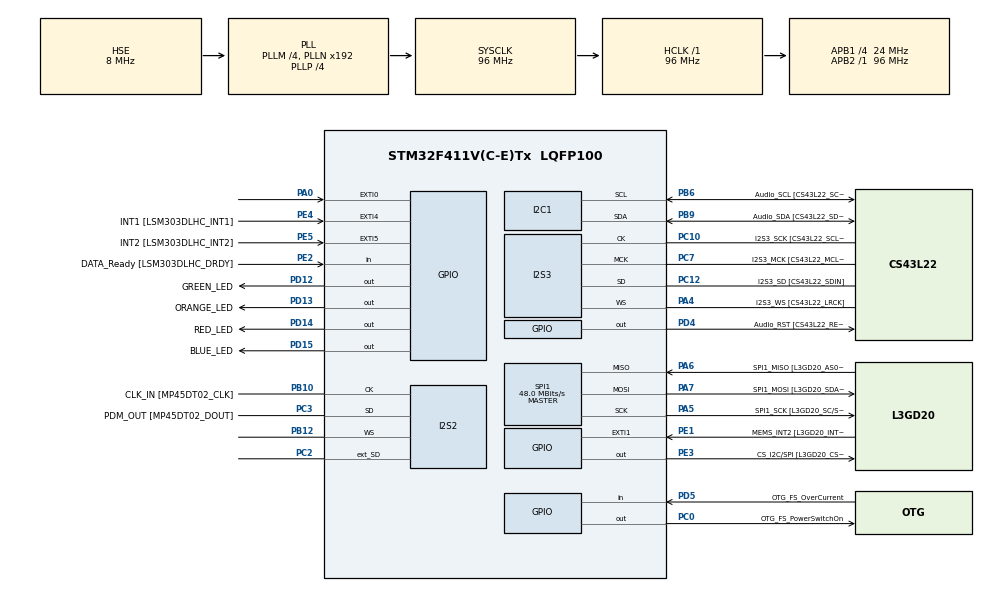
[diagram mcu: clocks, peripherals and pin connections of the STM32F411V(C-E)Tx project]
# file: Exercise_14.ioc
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FREERTOS.Tasks01=GREEN_LED,0,128,Start_GREEN_LED,Default,NULL,Dynamic,NULL,NULL;RED_LED,0,128,Start_RED_LED,Default,NULL,Dynamic,NULL,NULL;BLUE_LED,0,128,Start_BLUE_LED,Default,NULL,Dynamic,NULL,NULL
I2S2.AudioFreq=I2S_AUDIOFREQ_96K
I2S2.ErrorAudioFreq=0.15 %
I2S2.FullDuplexMode=I2S_FULLDUPLEXMODE_ENABLE
I2S2.Instance=SPI$Index
I2S2.RealAudioFreq=96.153 KHz
I2S2.VirtualMode=I2S_MODE_MASTER
I2S3.AudioFreq=I2S_AUDIOFREQ_96K
I2S3.ErrorAudioFreq=-6.99 %
I2S3.FullDuplexMode=I2S_FULLDUPLEXMODE_DISABLE
I2S3.Instance=SPI$Index
I2S3.RealAudioFreq=89.285 KHz
I2S3.VirtualMode=I2S_MODE_MASTER
Mcu.Family=STM32F4
Mcu.Name=STM32F411V(C-E)Tx
Mcu.Package=LQFP100
NVIC.PriorityGroup=NVIC_PRIORITYGROUP_4
NVIC.TIM1_UP_TIM10_IRQn=true\:0\:0\:false\:false\:true\:false\:false\:true
NVIC.TimeBase=TIM1_UP_TIM10_IRQn
NVIC.TimeBaseIP=TIM1
PA0-WKUP.GPIO_ModeDefaultEXTI=GPIO_MODE_EVT_RISING
PA0-WKUP.Signal=GPXTI0
PA10.GPIO_Label=OTG_FS_ID
PA10.Signal=USB_OTG_FS_ID
PA11.GPIO_Label=OTG_FS_DM
PA11.Signal=USB_OTG_FS_DM
PA12.GPIO_Label=OTG_FS_DP
PA12.Signal=USB_OTG_FS_DP
PA13.GPIO_Label=SWDIO
PA13.Mode=Serial_Wire
PA13.Signal=SYS_JTMS-SWDIO
PA14.GPIO_Label=SWCLK
PA14.Mode=Serial_Wire
PA14.Signal=SYS_JTCK-SWCLK
PA4.GPIO_Label=I2S3_WS [CS43L22_LRCK]
PA4.GPIO_Mode=GPIO_MODE_AF_PP
PA4.GPIO_PuPd=GPIO_NOPULL
PA4.GPIO_Speed=GPIO_SPEED_FREQ_LOW
PA4.Mode=Half_Duplex_Master
PA4.Signal=I2S3_WS
PA5.GPIO_Label=SPI1_SCK [L3GD20_SC/SPC]
PA5.Mode=Full_Duplex_Master
PA5.Signal=SPI1_SCK
PA6.GPIO_Label=SPI1_MISO [L3GD20_AS0/SDO]
PA6.Mode=Full_Duplex_Master
PA6.Signal=SPI1_MISO
PA7.GPIO_Label=SPI1_MOSI [L3GD20_SDA/SDI/SDO]
PA7.Mode=Full_Duplex_Master
PA7.Signal=SPI1_MOSI
PA9.GPIO_Label=VBUS_FS
PA9.Signal=USB_OTG_FS_VBUS
PB10.GPIO_Label=CLK_IN [MP45DT02_CLK]
PB10.Mode=Full_Duplex_Master
PB10.Signal=I2S2_CK
PB12.Mode=Full_Duplex_Master
PB12.Signal=I2S2_WS
PB3.GPIO_Label=SWO
PB3.Signal=SYS_JTDO-SWO
PB6.GPIO_Label=Audio_SCL [CS43L22_SCL]
PB6.GPIO_Mode=GPIO_MODE_AF_OD
PB6.GPIO_PuPd=GPIO_NOPULL
PB6.GPIO_Speed=GPIO_SPEED_FREQ_LOW
PB6.Mode=I2C
PB6.Signal=I2C1_SCL
PB9.GPIO_Label=Audio_SDA [CS43L22_SDA]
PB9.GPIO_Mode=GPIO_MODE_AF_OD
PB9.GPIO_PuPd=GPIO_NOPULL
PB9.GPIO_Speed=GPIO_SPEED_FREQ_LOW
PB9.Mode=I2C
PB9.Signal=I2C1_SDA
PC0.GPIO_Label=OTG_FS_PowerSwitchOn
PC0.PinState=GPIO_PIN_SET
PC0.Signal=GPIO_Output
PC10.GPIO_Label=I2S3_SCK [CS43L22_SCLK]
PC10.GPIO_Mode=GPIO_MODE_AF_PP
PC10.GPIO_PuPd=GPIO_NOPULL
PC10.GPIO_Speed=GPIO_SPEED_FREQ_LOW
PC10.Mode=Half_Duplex_Master
PC10.Signal=I2S3_CK
PC12.GPIO_Label=I2S3_SD [CS43L22_SDIN]
PC12.GPIO_Mode=GPIO_MODE_AF_PP
PC12.GPIO_PuPd=GPIO_NOPULL
PC12.GPIO_Speed=GPIO_SPEED_FREQ_LOW
PC12.Mode=Half_Duplex_Master
PC12.Signal=I2S3_SD
PC14-OSC32_IN.GPIO_Label=PC14-OSC32_IN
PC14-OSC32_IN.Mode=LSE-External-Oscillator
PC14-OSC32_IN.Signal=RCC_OSC32_IN
PC15-OSC32_OUT.GPIO_Label=PC15-OSC32_OUT
PC15-OSC32_OUT.Mode=LSE-External-Oscillator
PC15-OSC32_OUT.Signal=RCC_OSC32_OUT
PC2.Mode=Full_Duplex_Master
PC2.Signal=I2S2_ext_SD
PC3.GPIO_Label=PDM_OUT [MP45DT02_DOUT]
PC3.Mode=Full_Duplex_Master
PC3.Signal=I2S2_SD
PC7.GPIO_Label=I2S3_MCK [CS43L22_MCLK]
PC7.GPIO_Mode=GPIO_MODE_AF_PP
PC7.GPIO_PuPd=GPIO_NOPULL
PC7.GPIO_Speed=GPIO_SPEED_FREQ_LOW
PC7.Mode=Master_Clock_Activated
PC7.Signal=I2S3_MCK
PD12.GPIO_Label=GREEN_LED
PD12.GPIO_PuPd=GPIO_NOPULL
PD12.GPIO_Speed=GPIO_SPEED_FREQ_LOW
PD12.Signal=GPIO_Output
PD13.GPIO_Label=ORANGE_LED
PD13.GPIO_PuPd=GPIO_NOPULL
PD13.GPIO_Speed=GPIO_SPEED_FREQ_LOW
PD13.Signal=GPIO_Output
PD14.GPIO_Label=RED_LED
PD14.GPIO_PuPd=GPIO_NOPULL
PD14.GPIO_Speed=GPIO_SPEED_FREQ_LOW
PD14.Signal=GPIO_Output
PD15.GPIO_Label=BLUE_LED
PD15.GPIO_PuPd=GPIO_NOPULL
PD15.GPIO_Speed=GPIO_SPEED_FREQ_LOW
PD15.Signal=GPIO_Output
PD4.GPIO_Label=Audio_RST [CS43L22_RESET]
PD4.Signal=GPIO_Output
PD5.GPIO_Label=OTG_FS_OverCurrent
PD5.Signal=GPIO_Input
PE1.GPIO_Label=MEMS_INT2 [L3GD20_INT2]
PE1.GPIO_ModeDefaultEXTI=GPIO_MODE_EVT_RISING
PE1.Signal=GPXTI1
PE2.GPIO_Label=DATA_Ready [LSM303DLHC_DRDY]
PE2.Signal=GPIO_Input
PE3.GPIO_Label=CS_I2C/SPI [L3GD20_CS_I2C/SPI]
PE3.Signal=GPIO_Output
PE4.GPIO_Label=INT1 [LSM303DLHC_INT1]
PE4.GPIO_ModeDefaultEXTI=GPIO_MODE_EVT_RISING
PE4.Signal=GPXTI4
PE5.GPIO_Label=INT2 [LSM303DLHC_INT2]
PE5.GPIO_ModeDefaultEXTI=GPIO_MODE_EVT_RISING
PE5.Signal=GPXTI5
PH0\ -\ OSC_IN.GPIO_Label=PH0-OSC_IN
PH0\ -\ OSC_IN.Mode=HSE-External-Oscillator
PH0\ -\ OSC_IN.Signal=RCC_OSC_IN
PH1\ -\ OSC_OUT.GPIO_Label=PH1-OSC_OUT
PH1\ -\ OSC_OUT.Mode=HSE-External-Oscillator
PH1\ -\ OSC_OUT.Signal=RCC_OSC_OUT
ProjectManager.HeapSize=0x200
ProjectManager.StackSize=0x400
ProjectManager.TargetToolchain=STM32CubeIDE
RCC.48MHZClocksFreq_Value=48000000
RCC.AHBFreq_Value=96000000
RCC.APB1CLKDivider=RCC_HCLK_DIV4
RCC.APB1Freq_Value=24000000
RCC.APB1TimFreq_Value=48000000
RCC.APB2Freq_Value=96000000
RCC.APB2TimFreq_Value=96000000
RCC.CortexFreq_Value=96000000
RCC.HCLKFreq_Value=96000000
RCC.HSE_VALUE=8000000
RCC.HSI_VALUE=16000000
RCC.PLLI2SM=5
RCC.PLLI2SN=200
RCC.PLLM=4
RCC.PLLP=RCC_PLLP_DIV4
RCC.PLLQ=8
RCC.PLLSourceVirtual=RCC_PLLSOURCE_HSE
RCC.SYSCLKFreq_VALUE=96000000
RCC.SYSCLKSource=RCC_SYSCLKSOURCE_PLLCLK
RCC.VCOOutputFreq_Value=384000000
SPI1.BaudRatePrescaler=SPI_BAUDRATEPRESCALER_2
SPI1.CalculateBaudRate=48.0 MBits/s
SPI1.Direction=SPI_DIRECTION_2LINES
SPI1.Mode=SPI_MODE_MASTER
SPI1.VirtualType=VM_MASTER
VP_FREERTOS_VS_CMSIS_V1.Mode=CMSIS_V1
VP_SYS_VS_tim1.Mode=TIM1
board=STM32F411E-DISCO

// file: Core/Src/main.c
/* USER CODE BEGIN Header */
/**
  ******************************************************************************
  * @file           : main.c
  * @brief          : Main program body
  ******************************************************************************
  * @attention
  *
  * <h2><center>&copy; Copyright (c) 2024 STMicroelectronics.
  * All rights reserved.</center></h2>
  *
  * This software component is licensed by ST under Ultimate Liberty license
  * SLA0044, the "License"; You may not use this file except in compliance with
  * the License. You may obtain a copy of the License at:
  *                             www.st.com/SLA0044
  *
  ******************************************************************************
  */
/* USER CODE END Header */

#include "main.h"
#include "cmsis_os.h"

I2C_HandleTypeDef hi2c1;

I2S_HandleTypeDef hi2s2;
I2S_HandleTypeDef hi2s3;

SPI_HandleTypeDef hspi1;

osThreadId GREEN_LEDHandle;
osThreadId RED_LEDHandle;
osThreadId BLUE_LEDHandle;

void SystemClock_Config(void);
static void MX_GPIO_Init(void);
static void MX_I2C1_Init(void);
static void MX_I2S2_Init(void);
static void MX_I2S3_Init(void);
static void MX_SPI1_Init(void);
void Start_GREEN_LED(void const * argument);
void Start_RED_LED(void const * argument);
void Start_BLUE_LED(void const * argument);

int main(void)
{

  /* MCU Configuration--------------------------------------------------------*/

  /* Reset of all peripherals, Initializes the Flash interface and the Systick. */
  HAL_Init();

  /* Configure the system clock */
  SystemClock_Config();

  /* Initialize all configured peripherals */
  MX_GPIO_Init();
  MX_I2C1_Init();
  MX_I2S2_Init();
  MX_I2S3_Init();
  MX_SPI1_Init();

  /* Create the thread(s) */
  /* definition and creation of GREEN_LED */
  osThreadDef(GREEN_LED, Start_GREEN_LED, osPriorityNormal, 0, 128);
  GREEN_LEDHandle = osThreadCreate(osThread(GREEN_LED), NULL);

  /* definition and creation of RED_LED */
  osThreadDef(RED_LED, Start_RED_LED, osPriorityNormal, 0, 128);
  RED_LEDHandle = osThreadCreate(osThread(RED_LED), NULL);

  /* definition and creation of BLUE_LED */
  osThreadDef(BLUE_LED, Start_BLUE_LED, osPriorityNormal, 0, 128);
  BLUE_LEDHandle = osThreadCreate(osThread(BLUE_LED), NULL);

  /* Start scheduler */
  osKernelStart();

  /* We should never get here as control is now taken by the scheduler */

  /* Infinite loop */
  while (1)
  {

  }
}

void SystemClock_Config(void)
{
  RCC_OscInitTypeDef RCC_OscInitStruct = {0};
  RCC_ClkInitTypeDef RCC_ClkInitStruct = {0};
  RCC_PeriphCLKInitTypeDef PeriphClkInitStruct = {0};

  /** Configure the main internal regulator output voltage
  */
  __HAL_RCC_PWR_CLK_ENABLE();
  __HAL_PWR_VOLTAGESCALING_CONFIG(PWR_REGULATOR_VOLTAGE_SCALE1);
  /** Initializes the CPU, AHB and APB busses clocks
  */
  RCC_OscInitStruct.OscillatorType = RCC_OSCILLATORTYPE_HSE;
  RCC_OscInitStruct.HSEState = RCC_HSE_ON;
  RCC_OscInitStruct.PLL.PLLState = RCC_PLL_ON;
  RCC_OscInitStruct.PLL.PLLSource = RCC_PLLSOURCE_HSE;
  RCC_OscInitStruct.PLL.PLLM = 4;
  RCC_OscInitStruct.PLL.PLLN = 192;
  RCC_OscInitStruct.PLL.PLLP = RCC_PLLP_DIV4;
  RCC_OscInitStruct.PLL.PLLQ = 8;
  if (HAL_RCC_OscConfig(&RCC_OscInitStruct) != HAL_OK)
  {
    Error_Handler();
  }
  /** Initializes the CPU, AHB and APB busses clocks
  */
  RCC_ClkInitStruct.ClockType = RCC_CLOCKTYPE_HCLK|RCC_CLOCKTYPE_SYSCLK
                              |RCC_CLOCKTYPE_PCLK1|RCC_CLOCKTYPE_PCLK2;
  RCC_ClkInitStruct.SYSCLKSource = RCC_SYSCLKSOURCE_PLLCLK;
  RCC_ClkInitStruct.AHBCLKDivider = RCC_SYSCLK_DIV1;
  RCC_ClkInitStruct.APB1CLKDivider = RCC_HCLK_DIV4;
  RCC_ClkInitStruct.APB2CLKDivider = RCC_HCLK_DIV1;

  if (HAL_RCC_ClockConfig(&RCC_ClkInitStruct, FLASH_LATENCY_3) != HAL_OK)
  {
    Error_Handler();
  }
  PeriphClkInitStruct.PeriphClockSelection = RCC_PERIPHCLK_I2S;
  PeriphClkInitStruct.PLLI2S.PLLI2SN = 200;
  PeriphClkInitStruct.PLLI2S.PLLI2SM = 5;
  PeriphClkInitStruct.PLLI2S.PLLI2SR = 2;
  if (HAL_RCCEx_PeriphCLKConfig(&PeriphClkInitStruct) != HAL_OK)
  {
    Error_Handler();
  }
}

static void MX_I2C1_Init(void)
{

  hi2c1.Instance = I2C1;
  hi2c1.Init.ClockSpeed = 100000;
  hi2c1.Init.DutyCycle = I2C_DUTYCYCLE_2;
  hi2c1.Init.OwnAddress1 = 0;
  hi2c1.Init.AddressingMode = I2C_ADDRESSINGMODE_7BIT;
  hi2c1.Init.DualAddressMode = I2C_DUALADDRESS_DISABLE;
  hi2c1.Init.OwnAddress2 = 0;
  hi2c1.Init.GeneralCallMode = I2C_GENERALCALL_DISABLE;
  hi2c1.Init.NoStretchMode = I2C_NOSTRETCH_DISABLE;
  if (HAL_I2C_Init(&hi2c1) != HAL_OK)
  {
    Error_Handler();
  }

}

static void MX_I2S2_Init(void)
{

  hi2s2.Instance = SPI2;
  hi2s2.Init.Mode = I2S_MODE_MASTER_TX;
  hi2s2.Init.Standard = I2S_STANDARD_PHILIPS;
  hi2s2.Init.DataFormat = I2S_DATAFORMAT_16B;
  hi2s2.Init.MCLKOutput = I2S_MCLKOUTPUT_DISABLE;
  hi2s2.Init.AudioFreq = I2S_AUDIOFREQ_96K;
  hi2s2.Init.CPOL = I2S_CPOL_LOW;
  hi2s2.Init.ClockSource = I2S_CLOCK_PLL;
  hi2s2.Init.FullDuplexMode = I2S_FULLDUPLEXMODE_ENABLE;
  if (HAL_I2S_Init(&hi2s2) != HAL_OK)
  {
    Error_Handler();
  }

}

static void MX_I2S3_Init(void)
{

  hi2s3.Instance = SPI3;
  hi2s3.Init.Mode = I2S_MODE_MASTER_TX;
  hi2s3.Init.Standard = I2S_STANDARD_PHILIPS;
  hi2s3.Init.DataFormat = I2S_DATAFORMAT_16B;
  hi2s3.Init.MCLKOutput = I2S_MCLKOUTPUT_ENABLE;
  hi2s3.Init.AudioFreq = I2S_AUDIOFREQ_96K;
  hi2s3.Init.CPOL = I2S_CPOL_LOW;
  hi2s3.Init.ClockSource = I2S_CLOCK_PLL;
  hi2s3.Init.FullDuplexMode = I2S_FULLDUPLEXMODE_DISABLE;
  if (HAL_I2S_Init(&hi2s3) != HAL_OK)
  {
    Error_Handler();
  }

}

static void MX_SPI1_Init(void)
{

  /* SPI1 parameter configuration*/
  hspi1.Instance = SPI1;
  hspi1.Init.Mode = SPI_MODE_MASTER;
  hspi1.Init.Direction = SPI_DIRECTION_2LINES;
  hspi1.Init.DataSize = SPI_DATASIZE_8BIT;
  hspi1.Init.CLKPolarity = SPI_POLARITY_LOW;
  hspi1.Init.CLKPhase = SPI_PHASE_1EDGE;
  hspi1.Init.NSS = SPI_NSS_SOFT;
  hspi1.Init.BaudRatePrescaler = SPI_BAUDRATEPRESCALER_2;
  hspi1.Init.FirstBit = SPI_FIRSTBIT_MSB;
  hspi1.Init.TIMode = SPI_TIMODE_DISABLE;
  hspi1.Init.CRCCalculation = SPI_CRCCALCULATION_DISABLE;
  hspi1.Init.CRCPolynomial = 10;
  if (HAL_SPI_Init(&hspi1) != HAL_OK)
  {
    Error_Handler();
  }

}

static void MX_GPIO_Init(void)
{
  GPIO_InitTypeDef GPIO_InitStruct = {0};

  /* GPIO Ports Clock Enable */
  __HAL_RCC_GPIOE_CLK_ENABLE();
  __HAL_RCC_GPIOC_CLK_ENABLE();
  __HAL_RCC_GPIOH_CLK_ENABLE();
  __HAL_RCC_GPIOA_CLK_ENABLE();
  __HAL_RCC_GPIOB_CLK_ENABLE();
  __HAL_RCC_GPIOD_CLK_ENABLE();

  /*Configure GPIO pin Output Level */
  HAL_GPIO_WritePin(CS_I2C_SPI_GPIO_Port, CS_I2C_SPI_Pin, GPIO_PIN_RESET);

  /*Configure GPIO pin Output Level */
  HAL_GPIO_WritePin(OTG_FS_PowerSwitchOn_GPIO_Port, OTG_FS_PowerSwitchOn_Pin, GPIO_PIN_SET);

  /*Configure GPIO pin Output Level */
  HAL_GPIO_WritePin(GPIOD, GREEN_LED_Pin|ORANGE_LED_Pin|RED_LED_Pin|BLUE_LED_Pin
                          |Audio_RST_Pin, GPIO_PIN_RESET);

  /*Configure GPIO pin : DATA_Ready_Pin */
  GPIO_InitStruct.Pin = DATA_Ready_Pin;
  GPIO_InitStruct.Mode = GPIO_MODE_INPUT;
  GPIO_InitStruct.Pull = GPIO_NOPULL;
  HAL_GPIO_Init(DATA_Ready_GPIO_Port, &GPIO_InitStruct);

  /*Configure GPIO pin : CS_I2C_SPI_Pin */
  GPIO_InitStruct.Pin = CS_I2C_SPI_Pin;
  GPIO_InitStruct.Mode = GPIO_MODE_OUTPUT_PP;
  GPIO_InitStruct.Pull = GPIO_NOPULL;
  GPIO_InitStruct.Speed = GPIO_SPEED_FREQ_LOW;
  HAL_GPIO_Init(CS_I2C_SPI_GPIO_Port, &GPIO_InitStruct);

  /*Configure GPIO pins : INT1_Pin INT2_Pin MEMS_INT2_Pin */
  GPIO_InitStruct.Pin = INT1_Pin|INT2_Pin|MEMS_INT2_Pin;
  GPIO_InitStruct.Mode = GPIO_MODE_EVT_RISING;
  GPIO_InitStruct.Pull = GPIO_NOPULL;
  HAL_GPIO_Init(GPIOE, &GPIO_InitStruct);

  /*Configure GPIO pin : OTG_FS_PowerSwitchOn_Pin */
  GPIO_InitStruct.Pin = OTG_FS_PowerSwitchOn_Pin;
  GPIO_InitStruct.Mode = GPIO_MODE_OUTPUT_PP;
  GPIO_InitStruct.Pull = GPIO_NOPULL;
  GPIO_InitStruct.Speed = GPIO_SPEED_FREQ_LOW;
  HAL_GPIO_Init(OTG_FS_PowerSwitchOn_GPIO_Port, &GPIO_InitStruct);

  /*Configure GPIO pin : PA0 */
  GPIO_InitStruct.Pin = GPIO_PIN_0;
  GPIO_InitStruct.Mode = GPIO_MODE_EVT_RISING;
  GPIO_InitStruct.Pull = GPIO_NOPULL;
  HAL_GPIO_Init(GPIOA, &GPIO_InitStruct);

  /*Configure GPIO pins : GREEN_LED_Pin ORANGE_LED_Pin RED_LED_Pin BLUE_LED_Pin
                           Audio_RST_Pin */
  GPIO_InitStruct.Pin = GREEN_LED_Pin|ORANGE_LED_Pin|RED_LED_Pin|BLUE_LED_Pin
                          |Audio_RST_Pin;
  GPIO_InitStruct.Mode = GPIO_MODE_OUTPUT_PP;
  GPIO_InitStruct.Pull = GPIO_NOPULL;
  GPIO_InitStruct.Speed = GPIO_SPEED_FREQ_LOW;
  HAL_GPIO_Init(GPIOD, &GPIO_InitStruct);

  /*Configure GPIO pin : VBUS_FS_Pin */
  GPIO_InitStruct.Pin = VBUS_FS_Pin;
  GPIO_InitStruct.Mode = GPIO_MODE_INPUT;
  GPIO_InitStruct.Pull = GPIO_NOPULL;
  HAL_GPIO_Init(VBUS_FS_GPIO_Port, &GPIO_InitStruct);

  /*Configure GPIO pins : OTG_FS_ID_Pin OTG_FS_DM_Pin OTG_FS_DP_Pin */
  GPIO_InitStruct.Pin = OTG_FS_ID_Pin|OTG_FS_DM_Pin|OTG_FS_DP_Pin;
  GPIO_InitStruct.Mode = GPIO_MODE_AF_PP;
  GPIO_InitStruct.Pull = GPIO_NOPULL;
  GPIO_InitStruct.Speed = GPIO_SPEED_FREQ_VERY_HIGH;
  GPIO_InitStruct.Alternate = GPIO_AF10_OTG_FS;
  HAL_GPIO_Init(GPIOA, &GPIO_InitStruct);

  /*Configure GPIO pin : OTG_FS_OverCurrent_Pin */
  GPIO_InitStruct.Pin = OTG_FS_OverCurrent_Pin;
  GPIO_InitStruct.Mode = GPIO_MODE_INPUT;
  GPIO_InitStruct.Pull = GPIO_NOPULL;
  HAL_GPIO_Init(OTG_FS_OverCurrent_GPIO_Port, &GPIO_InitStruct);

}

void Start_GREEN_LED(void const * argument)
{
  /* USER CODE BEGIN 5 */
  int delayCnt_1 = 5000;
  int freqCnt_1 = 50;

  /* Infinite loop */
  for(;;)
  {
	osSignalWait(0x01,osWaitForever);
	for(int i = 0; i<delayCnt_1/freqCnt_1; i++)
	{
      HAL_GPIO_TogglePin(GREEN_LED_GPIO_Port, GREEN_LED_Pin);
	  osDelay(freqCnt_1);
	}
  }
  /* USER CODE END 5 */
}

void Start_RED_LED(void const * argument)
{
  /* USER CODE BEGIN Start_RED_LED */
  int delayCnt_1 = 5000;
  int freqCnt_1 = 50;
  /* Infinite loop */
  for(;;)
  {
	osSignalWait(0x01,osWaitForever);
	for(int i = 0; i<delayCnt_1/freqCnt_1; i++)
	{
	  HAL_GPIO_TogglePin(RED_LED_GPIO_Port, RED_LED_Pin);
	  osDelay(freqCnt_1);
	}
  }
  /* USER CODE END Start_RED_LED */
}

void Start_BLUE_LED(void const * argument)
{
  /* USER CODE BEGIN Start_BLUE_LED */
  int delayCnt_1 = 10000;
  int freqCnt_1 = 500;

  int delayCnt_2 = 6000;
  /* Infinite loop */
  for(;;)
  {
    for(int i = 0; i<delayCnt_1/freqCnt_1; i++)
	{
	  HAL_GPIO_TogglePin(BLUE_LED_GPIO_Port, BLUE_LED_Pin);
	  osDelay(freqCnt_1);
	}
    osSignalSet(GREEN_LEDHandle, 0x01);
    osDelay(delayCnt_2);
    osSignalSet(RED_LEDHandle, 0x01);
  }
  /* USER CODE END Start_BLUE_LED */
}

void HAL_TIM_PeriodElapsedCallback(TIM_HandleTypeDef *htim)
{
  if (htim->Instance == TIM1) {
    HAL_IncTick();
  }
}

void Error_Handler(void)
{
}

/************************ (C) COPYRIGHT STMicroelectronics *****END OF FILE****/
